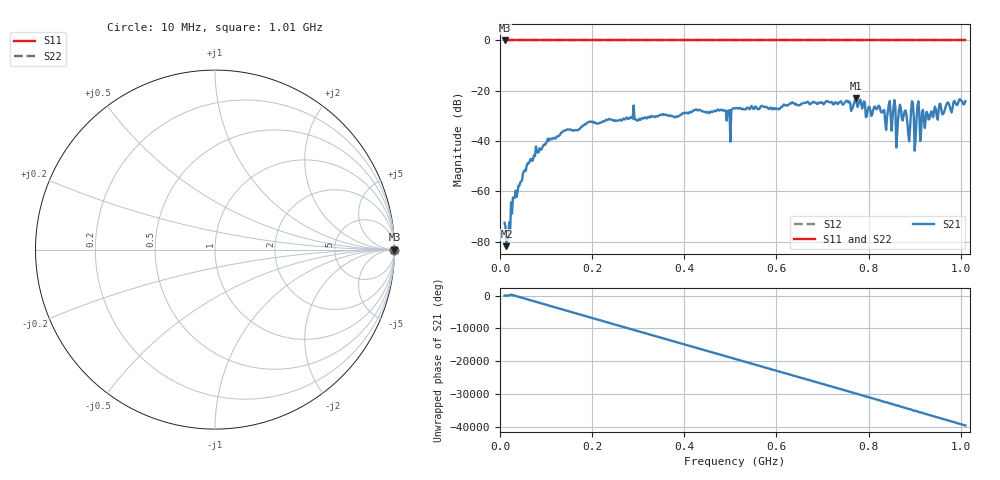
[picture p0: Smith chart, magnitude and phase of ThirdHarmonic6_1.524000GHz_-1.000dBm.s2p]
! 8/16/2025 6:00:35 PM
! C:\ANRITSUVNA\TEMP\TEMP.S2P
! CHANNEL.1
! TR.MEASUREMENT
! RAW.DATA
! RF.CORRECTION.OFF
! AVERAGING.OFF
! IF.BANDWIDTH: 5KHZ
! SWEEPTYPE:  FREQ.SWEEP(Linear)
! Reference Plane Port Info
! PORT:  PORT1  PORT2
! DISTANCE:  0  m  0  m
! TIME:  0  s  0  s
! PHASE.OFFSET:  0  deg.  0  deg.
! LOSS:  0  dB  0  dB
! REF.LOSS:  0  dB  0  dB
! REF.FREQ:  0  Hz  0  Hz
! Power Info
! POWER:  -20  dBm  -20  dBm
! EFF.POWER:  -20  dBm  -20  dBm
! SOURCE.ATTEN:  0  dB  0  dB
! TEST.ATTEN:  0  dB  0  dB
# GHZ S RI R 50.0
! FREQ.GHZ  S11RE  S11IM  S21RE  S21IM  S12RE  S12IM  S22RE  S22IM
!; PortSelection: Port_12
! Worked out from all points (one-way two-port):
!   501 points, 10 MHz to 1.01 GHz, reference 50 ohm
!   highest |S21| = -22.90 dB at 772 MHz (marker M1); lowest = -81.7 dB at 14 MHz (marker M2)
!   lowest |S11| = 0.0 dB at 10 MHz (marker M3)
!   |S11| at or under -10 dB: nowhere
!   |S22| runs from 0.0 to 0.0 dB; largest |S21 - S12| = 1.1
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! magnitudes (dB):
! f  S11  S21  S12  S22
! 10 MHz  0.0  -72.4  0.0  0.0
! 14 MHz  0.0  -81.7  0.0  0.0
! 18 MHz  0.0  -78.8  0.0  0.0
! 28 MHz  0.0  -62.4  0.0  0.0
! 62 MHz  0.0  -48.9  0.0  0.0
! 106 MHz  0.0  -39.9  0.0  0.0
! 178 MHz  0.0  -34.3  0.0  0.0
! 344 MHz  0.0  -30.0  0.0  0.0
! 496 MHz  0.0  -27.9  0.0  0.0
! 510 MHz  0.0  -27.0  0.0  0.0
! 678 MHz  0.0  -24.6  0.0  0.0
! 772 MHz  0.0  -22.9  0.0  0.0
! 836 MHz  0.0  -32.5  0.0  0.0
! 844 MHz  0.0  -25.3  0.0  0.0
! 862 MHz  0.0  -37.0  0.0  0.0
! 868 MHz  0.0  -25.5  0.0  0.0
! 880 MHz  0.0  -27.8  0.0  0.0
! 886 MHz  0.0  -37.1  0.0  0.0
! 894 MHz  0.0  -24.1  0.0  0.0
! 902 MHz  0.0  -38.6  0.0  0.0
! 906 MHz  0.0  -25.9  0.0  0.0
! 1.01 GHz  0.0  -24.1  0.0  0.0
